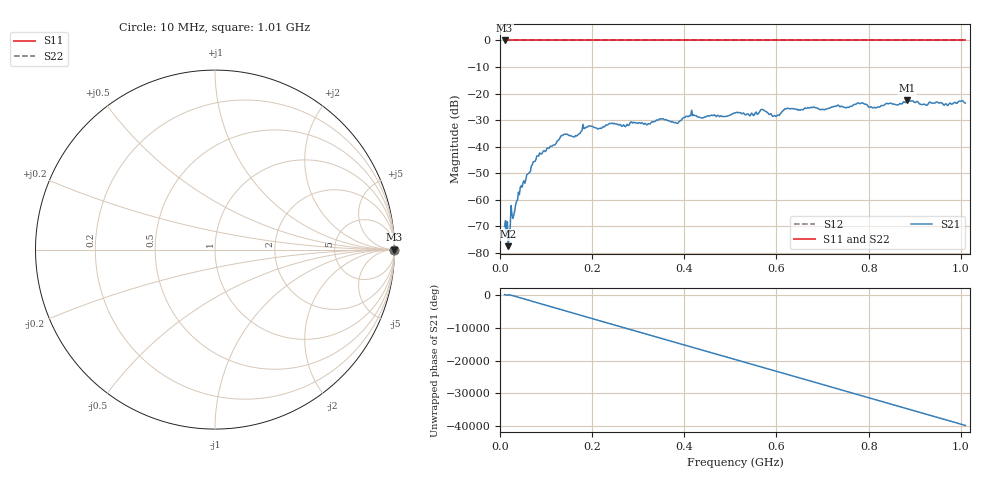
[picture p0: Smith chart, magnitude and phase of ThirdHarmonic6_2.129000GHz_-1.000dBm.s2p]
! 8/17/2025 1:26:46 AM
! C:\ANRITSUVNA\TEMP\TEMP.S2P
! CHANNEL.1
! TR.MEASUREMENT
! RAW.DATA
! RF.CORRECTION.OFF
! AVERAGING.OFF
! IF.BANDWIDTH: 5KHZ
! SWEEPTYPE:  FREQ.SWEEP(Linear)
! Reference Plane Port Info
! PORT:  PORT1  PORT2
! DISTANCE:  0  m  0  m
! TIME:  0  s  0  s
! PHASE.OFFSET:  0  deg.  0  deg.
! LOSS:  0  dB  0  dB
! REF.LOSS:  0  dB  0  dB
! REF.FREQ:  0  Hz  0  Hz
! Power Info
! POWER:  -20  dBm  -20  dBm
! EFF.POWER:  -20  dBm  -20  dBm
! SOURCE.ATTEN:  0  dB  0  dB
! TEST.ATTEN:  0  dB  0  dB
# GHZ S RI R 50.0
! FREQ.GHZ  S11RE  S11IM  S21RE  S21IM  S12RE  S12IM  S22RE  S22IM
!; PortSelection: Port_12
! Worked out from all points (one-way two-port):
!   501 points, 10 MHz to 1.01 GHz, reference 50 ohm
!   highest |S21| = -22.56 dB at 884 MHz (marker M1); lowest = -77.4 dB at 18 MHz (marker M2)
!   lowest |S11| = 0.0 dB at 10 MHz (marker M3)
!   |S11| at or under -10 dB: nowhere
!   |S22| runs from 0.0 to 0.0 dB; largest |S21 - S12| = 1.1
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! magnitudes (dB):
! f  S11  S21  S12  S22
! 10 MHz  0.0  -70.0  0.0  0.0
! 18 MHz  0.0  -77.4  0.0  0.0
! 44 MHz  0.0  -55.3  0.0  0.0
! 82 MHz  0.0  -43.4  0.0  0.0
! 136 MHz  0.0  -35.8  0.0  0.0
! 164 MHz  0.0  -35.7  0.0  0.0
! 178 MHz  0.0  -33.9  0.0  0.0
! 344 MHz  0.0  -29.9  0.0  0.0
! 382 MHz  0.0  -30.9  0.0  0.0
! 416 MHz  0.0  -26.2  0.0  0.0
! 438 MHz  0.0  -29.1  0.0  0.0
! 510 MHz  0.0  -27.2  0.0  0.0
! 546 MHz  0.0  -27.3  0.0  0.0
! 570 MHz  0.0  -26.0  0.0  0.0
! 596 MHz  0.0  -28.3  0.0  0.0
! 622 MHz  0.0  -25.7  0.0  0.0
! 678 MHz  0.0  -25.3  0.0  0.0
! 782 MHz  0.0  -23.7  0.0  0.0
! 812 MHz  0.0  -25.1  0.0  0.0
! 844 MHz  0.0  -23.8  0.0  0.0
! 884 MHz  0.0  -22.6  0.0  0.0
! 1.01 GHz  0.0  -23.5  0.0  0.0
